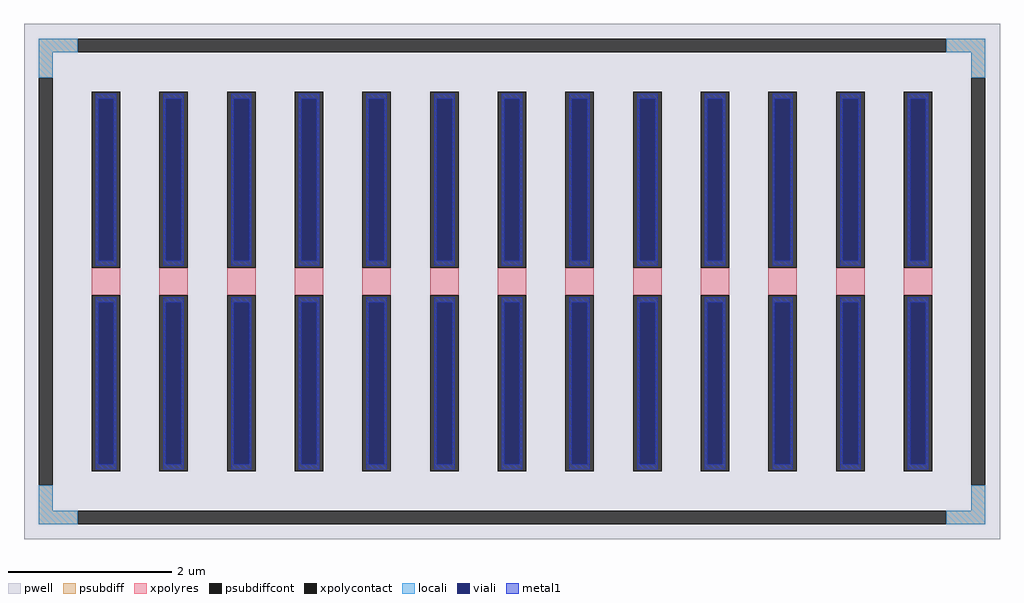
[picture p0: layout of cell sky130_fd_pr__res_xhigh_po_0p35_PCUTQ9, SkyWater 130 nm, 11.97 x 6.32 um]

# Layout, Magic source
magic
tech sky130A
magscale 1 2
<< pwell >>
rect -1197 -632 1197 632
<< psubdiff >>
rect -1161 562 -1065 596
rect 1065 562 1161 596
rect -1161 500 -1127 562
rect 1127 500 1161 562
rect -1161 -562 -1127 -500
rect 1127 -562 1161 -500
rect -1161 -596 -1065 -562
rect 1065 -596 1161 -562
<< psubdiffcont >>
rect -1065 562 1065 596
rect -1161 -500 -1127 500
rect 1127 -500 1161 500
rect -1065 -596 1065 -562
<< xpolycontact >>
rect -1031 34 -961 466
rect -1031 -466 -961 -34
rect -865 34 -795 466
rect -865 -466 -795 -34
rect -699 34 -629 466
rect -699 -466 -629 -34
rect -533 34 -463 466
rect -533 -466 -463 -34
rect -367 34 -297 466
rect -367 -466 -297 -34
rect -201 34 -131 466
rect -201 -466 -131 -34
rect -35 34 35 466
rect -35 -466 35 -34
rect 131 34 201 466
rect 131 -466 201 -34
rect 297 34 367 466
rect 297 -466 367 -34
rect 463 34 533 466
rect 463 -466 533 -34
rect 629 34 699 466
rect 629 -466 699 -34
rect 795 34 865 466
rect 795 -466 865 -34
rect 961 34 1031 466
rect 961 -466 1031 -34
<< xpolyres >>
rect -1031 -34 -961 34
rect -865 -34 -795 34
rect -699 -34 -629 34
rect -533 -34 -463 34
rect -367 -34 -297 34
rect -201 -34 -131 34
rect -35 -34 35 34
rect 131 -34 201 34
rect 297 -34 367 34
rect 463 -34 533 34
rect 629 -34 699 34
rect 795 -34 865 34
rect 961 -34 1031 34
<< locali >>
rect -1161 562 -1065 596
rect 1065 562 1161 596
rect -1161 500 -1127 562
rect 1127 500 1161 562
rect -1161 -562 -1127 -500
rect 1127 -562 1161 -500
rect -1161 -596 -1065 -562
rect 1065 -596 1161 -562
<< viali >>
rect -1015 51 -977 448
rect -849 51 -811 448
rect -683 51 -645 448
rect -517 51 -479 448
rect -351 51 -313 448
rect -185 51 -147 448
rect -19 51 19 448
rect 147 51 185 448
rect 313 51 351 448
rect 479 51 517 448
rect 645 51 683 448
rect 811 51 849 448
rect 977 51 1015 448
rect -1015 -448 -977 -51
rect -849 -448 -811 -51
rect -683 -448 -645 -51
rect -517 -448 -479 -51
rect -351 -448 -313 -51
rect -185 -448 -147 -51
rect -19 -448 19 -51
rect 147 -448 185 -51
rect 313 -448 351 -51
rect 479 -448 517 -51
rect 645 -448 683 -51
rect 811 -448 849 -51
rect 977 -448 1015 -51
<< metal1 >>
rect -1021 448 -971 460
rect -1021 51 -1015 448
rect -977 51 -971 448
rect -1021 39 -971 51
rect -855 448 -805 460
rect -855 51 -849 448
rect -811 51 -805 448
rect -855 39 -805 51
rect -689 448 -639 460
rect -689 51 -683 448
rect -645 51 -639 448
rect -689 39 -639 51
rect -523 448 -473 460
rect -523 51 -517 448
rect -479 51 -473 448
rect -523 39 -473 51
rect -357 448 -307 460
rect -357 51 -351 448
rect -313 51 -307 448
rect -357 39 -307 51
rect -191 448 -141 460
rect -191 51 -185 448
rect -147 51 -141 448
rect -191 39 -141 51
rect -25 448 25 460
rect -25 51 -19 448
rect 19 51 25 448
rect -25 39 25 51
rect 141 448 191 460
rect 141 51 147 448
rect 185 51 191 448
rect 141 39 191 51
rect 307 448 357 460
rect 307 51 313 448
rect 351 51 357 448
rect 307 39 357 51
rect 473 448 523 460
rect 473 51 479 448
rect 517 51 523 448
rect 473 39 523 51
rect 639 448 689 460
rect 639 51 645 448
rect 683 51 689 448
rect 639 39 689 51
rect 805 448 855 460
rect 805 51 811 448
rect 849 51 855 448
rect 805 39 855 51
rect 971 448 1021 460
rect 971 51 977 448
rect 1015 51 1021 448
rect 971 39 1021 51
rect -1021 -51 -971 -39
rect -1021 -448 -1015 -51
rect -977 -448 -971 -51
rect -1021 -460 -971 -448
rect -855 -51 -805 -39
rect -855 -448 -849 -51
rect -811 -448 -805 -51
rect -855 -460 -805 -448
rect -689 -51 -639 -39
rect -689 -448 -683 -51
rect -645 -448 -639 -51
rect -689 -460 -639 -448
rect -523 -51 -473 -39
rect -523 -448 -517 -51
rect -479 -448 -473 -51
rect -523 -460 -473 -448
rect -357 -51 -307 -39
rect -357 -448 -351 -51
rect -313 -448 -307 -51
rect -357 -460 -307 -448
rect -191 -51 -141 -39
rect -191 -448 -185 -51
rect -147 -448 -141 -51
rect -191 -460 -141 -448
rect -25 -51 25 -39
rect -25 -448 -19 -51
rect 19 -448 25 -51
rect -25 -460 25 -448
rect 141 -51 191 -39
rect 141 -448 147 -51
rect 185 -448 191 -51
rect 141 -460 191 -448
rect 307 -51 357 -39
rect 307 -448 313 -51
rect 351 -448 357 -51
rect 307 -460 357 -448
rect 473 -51 523 -39
rect 473 -448 479 -51
rect 517 -448 523 -51
rect 473 -460 523 -448
rect 639 -51 689 -39
rect 639 -448 645 -51
rect 683 -448 689 -51
rect 639 -460 689 -448
rect 805 -51 855 -39
rect 805 -448 811 -51
rect 849 -448 855 -51
rect 805 -460 855 -448
rect 971 -51 1021 -39
rect 971 -448 977 -51
rect 1015 -448 1021 -51
rect 971 -460 1021 -448
<< properties >>
string FIXED_BBOX -1144 -579 1144 579
string gencell sky130_fd_pr__res_xhigh_po_0p35
string library sky130
string parameters w 0.350 l 0.50 m 1 nx 13 wmin 0.350 lmin 0.50 rho 2000 val 3.932k dummy 0 dw 0.0 term 188.2 sterm 0.0 caplen 0 wmax 0.350 guard 1 glc 1 grc 1 gtc 1 gbc 1 compatible {sky130_fd_pr__res_xhigh_po_0p35  sky130_fd_pr__res_xhigh_po_0p69 sky130_fd_pr__res_xhigh_po_1p41  sky130_fd_pr__res_xhigh_po_2p85 sky130_fd_pr__res_xhigh_po_5p73} snake 0 full_metal 1 n_guard 0 hv_guard 0 vias 1 viagb 0 viagt 0 viagl 0 viagr 0
<< end >>
